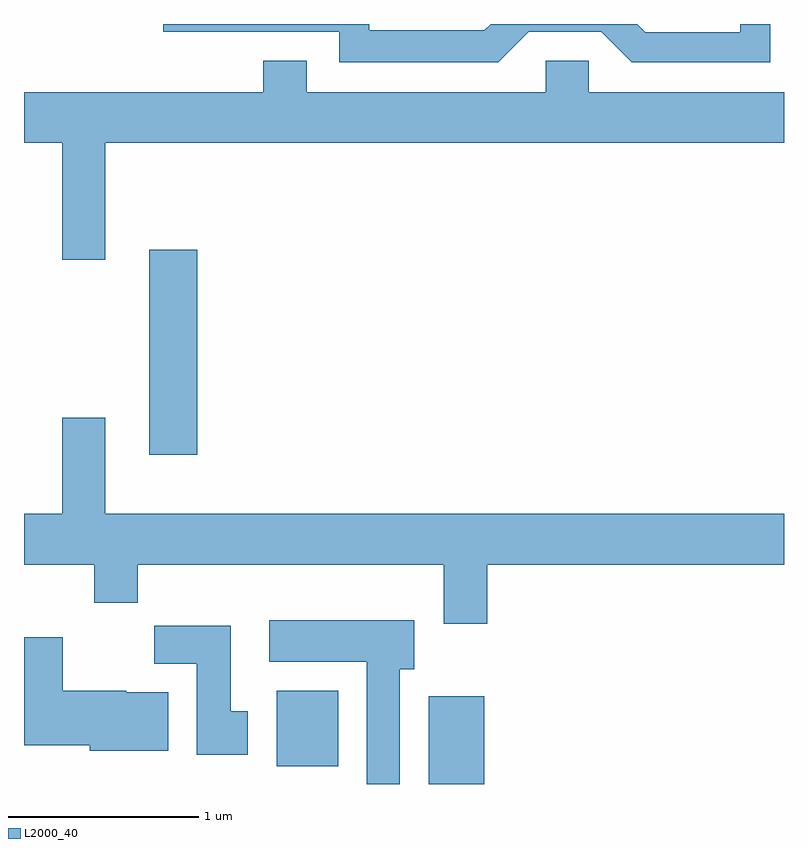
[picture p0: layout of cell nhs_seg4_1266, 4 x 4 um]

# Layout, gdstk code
import gdstk
lib = gdstk.Library(unit=1e-6, precision=1e-09)
def R(c, l, rs):  # rectangles x0, y0, x1, y1
    for r in rs: c.add(gdstk.rectangle(r[:2], r[2:], *l))
def P(c, l, *ps):  # polygons
    for p in ps: c.add(gdstk.Polygon(p, *l))
L2000_40 = (2000, 40)

nhs_seg4_1266 = lib.new_cell('nhs_seg4_1266')
R(nhs_seg4_1266, L2000_40, [(223.741,1337.982,224.034,1338.444), (222.941,1338.076,223.264,1338.474), (222.271,1339.716,222.524,1340.794)])
P(nhs_seg4_1266, L2000_40, [(224.267,1341.941),(224.649,1341.941),(224.809,1341.781),(225.539,1341.781),(225.539,1341.982),(225.381,1341.982),(225.381,1341.939),(224.882,1341.939),(224.839,1341.982),(224.067,1341.982),(224.034,1341.949),(223.429,1341.949),(223.429,1341.982),(222.343,1341.982),(222.343,1341.941),(223.271,1341.941),(223.271,1341.781),(224.107,1341.781)],
  [(222.039,1341.356),(225.611,1341.356),(225.611,1341.624),(224.584,1341.624),(224.584,1341.789),(224.356,1341.789),(224.356,1341.624),(223.099,1341.624),(223.099,1341.789),(222.871,1341.789),(222.871,1341.624),(221.611,1341.624),(221.611,1341.356),(221.811,1341.356),(221.811,1340.741),(222.039,1340.741)],
  [(224.049,1339.136),(225.611,1339.136),(225.611,1339.404),(222.039,1339.404),(222.039,1339.909),(221.811,1339.909),(221.811,1339.404),(221.611,1339.404),(221.611,1339.136),(221.981,1339.136),(221.981,1338.936),(222.209,1338.936),(222.209,1339.136),(223.821,1339.136),(223.821,1338.826),(224.049,1338.826)],
  [(223.589,1338.586),(223.664,1338.586),(223.664,1338.844),(222.901,1338.844),(222.901,1338.626),(223.416,1338.626),(223.416,1337.982),(223.589,1337.982)],
  [(222.789,1338.364),(222.699,1338.364),(222.699,1338.814),(222.296,1338.814),(222.296,1338.616),(222.521,1338.616),(222.521,1338.136),(222.789,1338.136)],
  [(222.369,1338.464),(222.15,1338.464),(222.15,1338.474),(221.814,1338.474),(221.814,1338.754),(221.611,1338.754),(221.611,1338.186),(221.956,1338.186),(221.956,1338.156),(222.369,1338.156)])

lib.write_gds('nhs_seg4_1266.gds')
